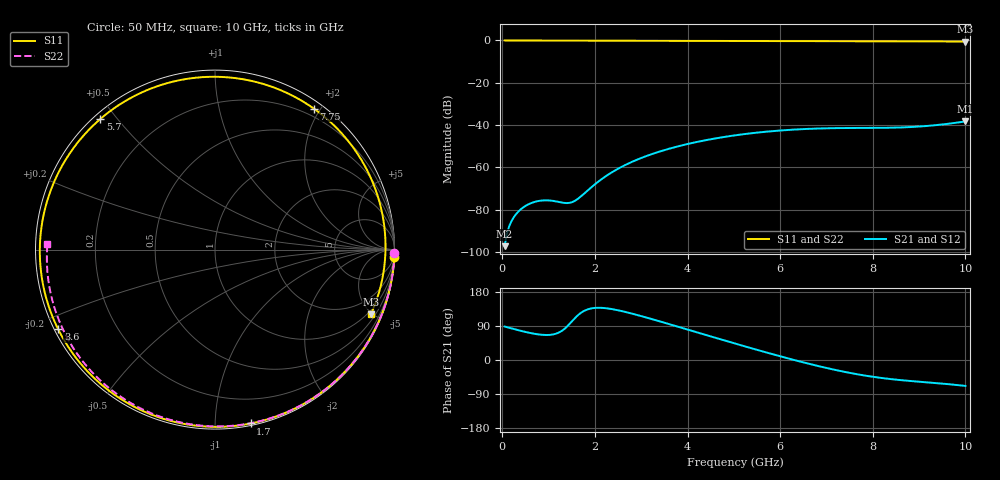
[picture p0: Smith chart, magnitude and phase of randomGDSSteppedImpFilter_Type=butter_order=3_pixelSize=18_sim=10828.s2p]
! freq	dB(S11)	phase(S11)	dB(S12)	phase(S12)
!  dB(S21)	phase(S21)	dB(S22)	phase(S22)
!S-par simulation data
#  GHz  S  DB  R 50
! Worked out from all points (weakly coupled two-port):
!   200 points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, 50 MHz to 10 GHz, reference 50 ohm
!   highest |S21| = -38.29 dB at 10 GHz (marker M1); lowest = -97.3 dB at 50 MHz (marker M2)
!   lowest |S11| = -0.5 dB at 10 GHz (marker M3), VSWR 32.48, Z = 39.4 - j245 ohm
!   |S11| at or under -10 dB: nowhere
!   |S22| runs from -0.6 to 0.0 dB; largest |S21 - S12| = 0
!   S11 on the Smith chart (normalised r, x): 50 MHz: 0, -47; 1.7 GHz: 0.01, -1.23; 3.6 GHz: 0.01, -0.24; 5.7 GHz: 0.02, +0.45; 7.75 GHz: 0.10, +1.92; 10 GHz: 0.79, -4.90
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0.05  -0.00 -2.4  -97.30 88.3  -97.30 88.3  -0.00 -1.1
0.4  -0.03 -19.2  -79.84 77.0  -79.84 77.0  -0.01 -8.4
0.65  -0.04 -31.0  -76.71 70.1  -76.71 70.1  -0.02 -13.6
0.95  -0.06 -45.0  -75.62 66.0  -75.62 66.0  -0.02 -19.7
1.45  -0.08 -67.5  -76.82 94.8  -76.82 94.8  -0.04 -29.9
1.7  -0.10 -78.4  -73.72 124.6  -73.72 124.6  -0.04 -35.0
1.75  -0.10 -80.5  -72.77 128.5  -72.77 128.5  -0.05 -36.0
2.1  -0.11 -95.2  -66.32 137.8  -66.32 137.8  -0.06 -43.0
2.45  -0.13 -109.4  -61.28 132.5  -61.28 132.5  -0.06 -49.8
2.9  -0.15 -126.9  -56.48 119.2  -56.48 119.2  -0.08 -58.5
3.4  -0.17 -145.7  -52.53 102.0  -52.53 102.0  -0.09 -68.0
3.6  -0.18 -153.1  -51.23 94.8  -51.23 94.8  -0.10 -71.7
4.3  -0.21 -178.3  -47.57 69.5  -47.57 69.5  -0.12 -84.5
5.05  -0.25 154.8  -44.80 42.6  -44.80 42.6  -0.15 -97.8
5.7  -0.28 131.3  -43.15 19.9  -43.15 19.9  -0.18 -108.9
6.2  -0.30 112.9  -42.29 3.3  -42.29 3.3  -0.21 -117.4
6.7  -0.32 94.3  -41.74 -12.3  -41.74 -12.3  -0.25 -125.7
7.2  -0.34 75.6  -41.46 -26.4  -41.46 -26.4  -0.28 -134.0
7.75  -0.36 55.0  -41.38 -39.5  -41.38 -39.5  -0.33 -143.1
8.35  -0.38 33.0  -41.29 -49.8  -41.29 -49.8  -0.39 -153.2
9.15  -0.43 5.0  -40.48 -58.8  -40.48 -58.8  -0.48 -166.8
10  -0.53 -22.5  -38.29 -68.4  -38.29 -68.4  -0.59 178.1
